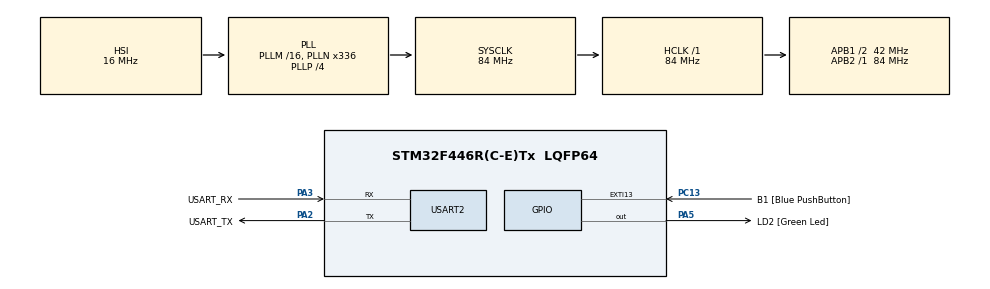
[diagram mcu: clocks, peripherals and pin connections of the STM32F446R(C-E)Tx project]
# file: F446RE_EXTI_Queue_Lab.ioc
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FREERTOS.Tasks01=defaultTask,24,128,StartDefaultTask,Default,NULL,Dynamic,NULL,NULL
FREERTOS.configUSE_NEWLIB_REENTRANT=1
Mcu.Family=STM32F4
Mcu.Name=STM32F446R(C-E)Tx
Mcu.Package=LQFP64
NVIC.EXTI15_10_IRQn=true\:5\:0\:false\:false\:true\:true\:true\:true\:true
NVIC.PriorityGroup=NVIC_PRIORITYGROUP_4
NVIC.TIM6_DAC_IRQn=true\:15\:0\:false\:false\:true\:false\:false\:true\:true
NVIC.TimeBase=TIM6_DAC_IRQn
NVIC.TimeBaseIP=TIM6
PA13.GPIO_Label=TMS
PA13.Mode=Serial_Wire
PA13.Signal=SYS_JTMS-SWDIO
PA14.GPIO_Label=TCK
PA14.Mode=Serial_Wire
PA14.Signal=SYS_JTCK-SWCLK
PA2.GPIO_Label=USART_TX
PA2.Mode=Asynchronous
PA2.Signal=USART2_TX
PA3.GPIO_Label=USART_RX
PA3.Mode=Asynchronous
PA3.Signal=USART2_RX
PA5.GPIO_Label=LD2 [Green Led]
PA5.Signal=GPIO_Output
PB3.GPIO_Label=SWO
PB3.Signal=SYS_JTDO-SWO
PC13.GPIO_Label=B1 [Blue PushButton]
PC13.GPIO_ModeDefaultEXTI=GPIO_MODE_IT_FALLING
PC13.Signal=GPXTI13
PC14-OSC32_IN.Mode=LSE-External-Oscillator
PC14-OSC32_IN.Signal=RCC_OSC32_IN
PC15-OSC32_OUT.Mode=LSE-External-Oscillator
PC15-OSC32_OUT.Signal=RCC_OSC32_OUT
PH0-OSC_IN.Mode=HSE-External-Oscillator
PH0-OSC_IN.Signal=RCC_OSC_IN
PH1-OSC_OUT.Mode=HSE-External-Oscillator
PH1-OSC_OUT.Signal=RCC_OSC_OUT
ProjectManager.HeapSize=0x200
ProjectManager.StackSize=0x400
ProjectManager.TargetToolchain=STM32CubeIDE
RCC.48MHZClocksFreq_Value=84000000
RCC.AHBFreq_Value=84000000
RCC.APB1CLKDivider=RCC_HCLK_DIV2
RCC.APB1Freq_Value=42000000
RCC.APB1TimFreq_Value=84000000
RCC.APB2Freq_Value=84000000
RCC.APB2TimFreq_Value=84000000
RCC.CortexFreq_Value=84000000
RCC.FLatency-AdvancedSettings=FLASH_LATENCY_2
RCC.HCLKFreq_Value=84000000
RCC.HSE_VALUE=8000000
RCC.HSI_VALUE=16000000
RCC.PLLN=336
RCC.PLLP=RCC_PLLP_DIV4
RCC.SYSCLKFreq_VALUE=84000000
RCC.SYSCLKSource=RCC_SYSCLKSOURCE_PLLCLK
RCC.USBFreq_Value=168000000
RCC.VCOOutputFreq_Value=336000000
USART2.VirtualMode=VM_ASYNC
VP_FREERTOS_VS_CMSIS_V2.Mode=CMSIS_V2
VP_SYS_VS_tim6.Mode=TIM6
board=NUCLEO-F446RE

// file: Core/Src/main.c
/* USER CODE BEGIN Header */
/**
  ******************************************************************************
  * @file           : main.c
  * @brief          : Main program body
  ******************************************************************************
  * @attention
  *
  * Copyright (c) 2026 STMicroelectronics.
  * All rights reserved.
  *
  * This software is licensed under terms that can be found in the LICENSE file
  * in the root directory of this software component.
  * If no LICENSE file comes with this software, it is provided AS-IS.
  *
  ******************************************************************************
  */
/* USER CODE END Header */
#include "main.h"
#include "cmsis_os.h"

/* USER CODE BEGIN Includes */

#include "cmsis_os2.h"
#include <stdio.h>

/* USER CODE END Includes */

/* USER CODE BEGIN PTD */

typedef struct
{
    uint32_t event_id;
    uint32_t tick_ms;
} ButtonEvent;

/* USER CODE END PTD */

UART_HandleTypeDef huart2;

/* Definitions for defaultTask */
osThreadId_t defaultTaskHandle;
const osThreadAttr_t defaultTask_attributes = {
  .name = "defaultTask",
  .stack_size = 384 * 4,
  .priority = (osPriority_t) osPriorityNormal,
};
/* USER CODE BEGIN PV */

static osMessageQueueId_t buttonQueueHandle = NULL;
static volatile uint32_t queueDropCount = 0;

/* USER CODE END PV */

void SystemClock_Config(void);
static void MX_GPIO_Init(void);
static void MX_USART2_UART_Init(void);
void StartDefaultTask(void *argument);

int main(void)
{

  /* MCU Configuration--------------------------------------------------------*/

  /* Reset of all peripherals, Initializes the Flash interface and the Systick. */
  HAL_Init();

  /* Configure the system clock */
  SystemClock_Config();

  /* Initialize all configured peripherals */
  MX_GPIO_Init();
  MX_USART2_UART_Init();

  /* Init scheduler */
  osKernelInitialize();

  /* USER CODE BEGIN RTOS_QUEUES */
  /* add queues, ... */

  buttonQueueHandle = osMessageQueueNew(
      4,
      sizeof(ButtonEvent),
      NULL
  );

  if (buttonQueueHandle == NULL)
  {
      Error_Handler();
  }

  /* USER CODE END RTOS_QUEUES */

  /* Create the thread(s) */
  /* creation of defaultTask */
  defaultTaskHandle = osThreadNew(StartDefaultTask, NULL, &defaultTask_attributes);

  /* Start scheduler */
  osKernelStart();

  /* We should never get here as control is now taken by the scheduler */

  /* Infinite loop */
  while (1)
  {

  }
}

void SystemClock_Config(void)
{
  RCC_OscInitTypeDef RCC_OscInitStruct = {0};
  RCC_ClkInitTypeDef RCC_ClkInitStruct = {0};

  /** Configure the main internal regulator output voltage
  */
  __HAL_RCC_PWR_CLK_ENABLE();
  __HAL_PWR_VOLTAGESCALING_CONFIG(PWR_REGULATOR_VOLTAGE_SCALE3);

  /** Initializes the RCC Oscillators according to the specified parameters
  * in the RCC_OscInitTypeDef structure.
  */
  RCC_OscInitStruct.OscillatorType = RCC_OSCILLATORTYPE_HSI;
  RCC_OscInitStruct.HSIState = RCC_HSI_ON;
  RCC_OscInitStruct.HSICalibrationValue = RCC_HSICALIBRATION_DEFAULT;
  RCC_OscInitStruct.PLL.PLLState = RCC_PLL_ON;
  RCC_OscInitStruct.PLL.PLLSource = RCC_PLLSOURCE_HSI;
  RCC_OscInitStruct.PLL.PLLM = 16;
  RCC_OscInitStruct.PLL.PLLN = 336;
  RCC_OscInitStruct.PLL.PLLP = RCC_PLLP_DIV4;
  RCC_OscInitStruct.PLL.PLLQ = 2;
  RCC_OscInitStruct.PLL.PLLR = 2;
  if (HAL_RCC_OscConfig(&RCC_OscInitStruct) != HAL_OK)
  {
    Error_Handler();
  }

  /** Initializes the CPU, AHB and APB buses clocks
  */
  RCC_ClkInitStruct.ClockType = RCC_CLOCKTYPE_HCLK|RCC_CLOCKTYPE_SYSCLK
                              |RCC_CLOCKTYPE_PCLK1|RCC_CLOCKTYPE_PCLK2;
  RCC_ClkInitStruct.SYSCLKSource = RCC_SYSCLKSOURCE_PLLCLK;
  RCC_ClkInitStruct.AHBCLKDivider = RCC_SYSCLK_DIV1;
  RCC_ClkInitStruct.APB1CLKDivider = RCC_HCLK_DIV2;
  RCC_ClkInitStruct.APB2CLKDivider = RCC_HCLK_DIV1;

  if (HAL_RCC_ClockConfig(&RCC_ClkInitStruct, FLASH_LATENCY_2) != HAL_OK)
  {
    Error_Handler();
  }
}

static void MX_USART2_UART_Init(void)
{

  huart2.Instance = USART2;
  huart2.Init.BaudRate = 115200;
  huart2.Init.WordLength = UART_WORDLENGTH_8B;
  huart2.Init.StopBits = UART_STOPBITS_1;
  huart2.Init.Parity = UART_PARITY_NONE;
  huart2.Init.Mode = UART_MODE_TX_RX;
  huart2.Init.HwFlowCtl = UART_HWCONTROL_NONE;
  huart2.Init.OverSampling = UART_OVERSAMPLING_16;
  if (HAL_UART_Init(&huart2) != HAL_OK)
  {
    Error_Handler();
  }

}

static void MX_GPIO_Init(void)
{
  GPIO_InitTypeDef GPIO_InitStruct = {0};

  /* GPIO Ports Clock Enable */
  __HAL_RCC_GPIOC_CLK_ENABLE();
  __HAL_RCC_GPIOH_CLK_ENABLE();
  __HAL_RCC_GPIOA_CLK_ENABLE();
  __HAL_RCC_GPIOB_CLK_ENABLE();

  /*Configure GPIO pin Output Level */
  HAL_GPIO_WritePin(LD2_GPIO_Port, LD2_Pin, GPIO_PIN_RESET);

  /*Configure GPIO pin : B1_Pin */
  GPIO_InitStruct.Pin = B1_Pin;
  GPIO_InitStruct.Mode = GPIO_MODE_IT_FALLING;
  GPIO_InitStruct.Pull = GPIO_NOPULL;
  HAL_GPIO_Init(B1_GPIO_Port, &GPIO_InitStruct);

  /*Configure GPIO pin : LD2_Pin */
  GPIO_InitStruct.Pin = LD2_Pin;
  GPIO_InitStruct.Mode = GPIO_MODE_OUTPUT_PP;
  GPIO_InitStruct.Pull = GPIO_NOPULL;
  GPIO_InitStruct.Speed = GPIO_SPEED_FREQ_LOW;
  HAL_GPIO_Init(LD2_GPIO_Port, &GPIO_InitStruct);

  /* EXTI interrupt init*/
  HAL_NVIC_SetPriority(EXTI15_10_IRQn, 5, 0);
  HAL_NVIC_EnableIRQ(EXTI15_10_IRQn);

}

/* USER CODE BEGIN 4 */

void HAL_GPIO_EXTI_Callback(uint16_t GPIO_Pin)
{
    static uint32_t last_tick = 0;
    static uint32_t event_count = 0;
    static uint8_t has_last_event = 0;

    if (GPIO_Pin != B1_Pin || buttonQueueHandle == NULL)
    {
        return;
    }

    uint32_t now = HAL_GetTick();

    /* 80 ms software debounce */
    if (has_last_event &&
        (uint32_t)(now - last_tick) < 80U)
    {
        return;
    }

    has_last_event = 1;
    last_tick = now;

    ButtonEvent event = {
        .event_id = event_count + 1U,
        .tick_ms = now
    };

    /* ISR context: timeout must be 0 */
    if (osMessageQueuePut(
            buttonQueueHandle,
            &event,
            0U,
            0U) == osOK)
    {
        event_count = event.event_id;
    }
    else
    {
        queueDropCount++;
    }
}

/* USER CODE END 4 */

void StartDefaultTask(void *argument)
{
  /* USER CODE BEGIN 5 */
  /* Infinite loop */
	 	ButtonEvent event;
	    char message[80];

	    for (;;)
	    {
	        if (osMessageQueueGet(
	                buttonQueueHandle,
	                &event,
	                NULL,
	                osWaitForever) == osOK)
	        {
	            HAL_GPIO_TogglePin(
	                LD2_GPIO_Port,
	                LD2_Pin
	            );

	            int len = snprintf(
	                message,
	                sizeof(message),
	                "Button Event #%lu at %lu ms\r\n",
	                (unsigned long)event.event_id,
	                (unsigned long)event.tick_ms
	            );

	            if (len > 0 && len < (int)sizeof(message))
	            {
	                HAL_UART_Transmit(
	                    &huart2,
	                    (uint8_t *)message,
	                    (uint16_t)len,
	                    100
	                );
	            }
	        }
	    }
  /* USER CODE END 5 */
}

void HAL_TIM_PeriodElapsedCallback(TIM_HandleTypeDef *htim)
{
  if (htim->Instance == TIM6)
  {
    HAL_IncTick();
  }
}

void Error_Handler(void)
{
  __disable_irq();
  while (1)
  {
  }
}
